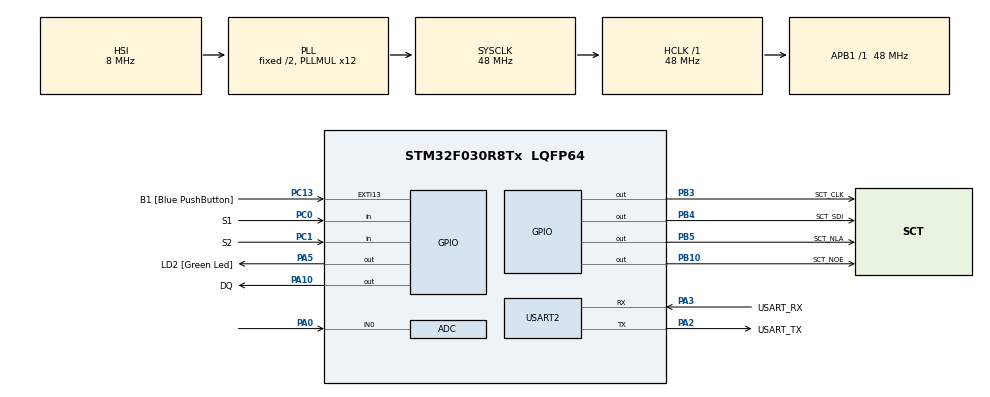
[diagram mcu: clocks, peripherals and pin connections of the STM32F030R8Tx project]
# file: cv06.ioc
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ADC.ContinuousConvMode=ENABLE
ADC.SamplingTime=ADC_SAMPLETIME_239CYCLES_5
Mcu.Family=STM32F0
Mcu.Name=STM32F030R8Tx
Mcu.Package=LQFP64
NVIC.ADC1_IRQn=true\:0\:0\:false\:false\:true\:true\:true
PA0.Mode=IN0
PA0.Signal=ADC_IN0
PA10.GPIO_Label=DQ
PA10.GPIO_ModeDefaultOutputPP=GPIO_MODE_OUTPUT_OD
PA10.PinState=GPIO_PIN_SET
PA10.Signal=GPIO_Output
PA13.GPIO_Label=TMS
PA13.Mode=Serial_Wire
PA13.Signal=SYS_SWDIO
PA14.GPIO_Label=TCK
PA14.Mode=Serial_Wire
PA14.Signal=SYS_SWCLK
PA2.GPIO_Label=USART_TX
PA2.GPIO_Mode=GPIO_MODE_AF_PP
PA2.GPIO_PuPd=GPIO_NOPULL
PA2.GPIO_Speed=GPIO_SPEED_FREQ_LOW
PA2.Mode=Asynchronous
PA2.Signal=USART2_TX
PA3.GPIO_Label=USART_RX
PA3.GPIO_Mode=GPIO_MODE_AF_PP
PA3.GPIO_PuPd=GPIO_NOPULL
PA3.GPIO_Speed=GPIO_SPEED_FREQ_LOW
PA3.Mode=Asynchronous
PA3.Signal=USART2_RX
PA5.GPIO_Label=LD2 [Green Led]
PA5.GPIO_Mode=GPIO_MODE_OUTPUT_PP
PA5.GPIO_PuPd=GPIO_NOPULL
PA5.GPIO_Speed=GPIO_SPEED_FREQ_LOW
PA5.Signal=GPIO_Output
PB10.GPIO_Label=SCT_NOE
PB10.Signal=GPIO_Output
PB3.GPIO_Label=SCT_CLK
PB3.Signal=GPIO_Output
PB4.GPIO_Label=SCT_SDI
PB4.Signal=GPIO_Output
PB5.GPIO_Label=SCT_NLA
PB5.Signal=GPIO_Output
PC0.GPIO_Label=S1
PC0.GPIO_PuPd=GPIO_PULLUP
PC0.Signal=GPIO_Input
PC1.GPIO_Label=S2
PC1.GPIO_PuPd=GPIO_PULLUP
PC1.Signal=GPIO_Input
PC13.GPIO_Label=B1 [Blue PushButton]
PC13.GPIO_ModeDefaultEXTI=GPIO_MODE_IT_FALLING
PC13.Signal=GPXTI13
PC14-OSC32_IN.Mode=LSE-External-Oscillator
PC14-OSC32_IN.Signal=RCC_OSC32_IN
PC15-OSC32_OUT.Mode=LSE-External-Oscillator
PC15-OSC32_OUT.Signal=RCC_OSC32_OUT
PF0-OSC_IN.Mode=HSE-External-Clock-Source
PF0-OSC_IN.Signal=RCC_OSC_IN
PF1-OSC_OUT.Signal=RCC_OSC_OUT
ProjectManager.HeapSize=0x200
ProjectManager.StackSize=0x400
ProjectManager.TargetToolchain=STM32CubeIDE
RCC.AHBFreq_Value=48000000
RCC.APB1Freq_Value=48000000
RCC.APB1TimFreq_Value=48000000
RCC.HCLKFreq_Value=48000000
RCC.PLLMUL=RCC_PLL_MUL12
RCC.SYSCLKFreq_VALUE=48000000
RCC.SYSCLKSource=RCC_SYSCLKSOURCE_PLLCLK
USART2.VirtualMode-Asynchronous=VM_ASYNC
VP_ADC_TempSens_Input.Mode=IN-TempSens
VP_ADC_Vref_Input.Mode=IN-Vrefint
board=NUCLEO-F030R8

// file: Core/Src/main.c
/* USER CODE BEGIN Header */
/**
  ******************************************************************************
  * @file           : main.c
  * @brief          : Main program body
  ******************************************************************************
  * @attention
  *
  * <h2><center>&copy; Copyright (c) 2020 STMicroelectronics.
  * All rights reserved.</center></h2>
  *
  * This software component is licensed by ST under BSD 3-Clause license,
  * the "License"; You may not use this file except in compliance with the
  * License. You may obtain a copy of the License at:
  *                        opensource.org/licenses/BSD-3-Clause
  *
  ******************************************************************************
  */
/* USER CODE END Header */

#include "main.h"

/* USER CODE BEGIN Includes */
#include "sct.h"
#include "1wire.h"
/* USER CODE END Includes */

/* USER CODE BEGIN PD */
#define ADC_Q 12;
#define TEMP110_CAL_ADDR ((uint16_t*) ((uint32_t) 0x1FFFF7C2))
#define TEMP30_CAL_ADDR ((uint16_t*) ((uint32_t) 0x1FFFF7B8))
#define VREFINT_CAL_ADDR ((uint16_t*) ((uint32_t) 0x1FFFF7BA))

/* USER CODE END PD */

ADC_HandleTypeDef hadc;

UART_HandleTypeDef huart2;

/* USER CODE BEGIN PV */
//uint16_t adc_value;
static volatile uint32_t raw_pot;
static volatile uint32_t avg_pot;
static volatile uint32_t raw_volt;
static volatile uint32_t raw_temp;
/* USER CODE END PV */

void SystemClock_Config(void);
static void MX_GPIO_Init(void);
static void MX_USART2_UART_Init(void);
static void MX_ADC_Init(void);

/* USER CODE BEGIN 0 */

void HAL_ADC_ConvCpltCallback(ADC_HandleTypeDef* hadc)
{
	static uint32_t channel;

	if (channel == 0)
	{
		raw_pot = HAL_ADC_GetValue(hadc);

		static uint32_t avg_pot;
		raw_pot = avg_pot >> ADC_Q;
		avg_pot -= raw_pot;
		avg_pot += HAL_ADC_GetValue(hadc);
	}
	else if (channel == 1)
	{
		raw_temp = HAL_ADC_GetValue(hadc);
	}
	else if (channel == 2)
	{
		raw_volt = HAL_ADC_GetValue(hadc);
	}
	if (__HAL_ADC_GET_FLAG(hadc, ADC_FLAG_EOS)) channel = 0;
	else channel++;

}

/* USER CODE END 0 */

int main(void)
{

  /* MCU Configuration--------------------------------------------------------*/

  /* Reset of all peripherals, Initializes the Flash interface and the Systick. */
  HAL_Init();

  /* Configure the system clock */
  SystemClock_Config();

  /* Initialize all configured peripherals */
  MX_GPIO_Init();
  MX_USART2_UART_Init();
  MX_ADC_Init();
  /* USER CODE BEGIN 2 */
  OWInit();

  sct_init();
  HAL_ADCEx_Calibration_Start(&hadc);
  HAL_ADC_Start_IT(&hadc);

  /* USER CODE END 2 */

  /* Infinite loop */
  while (1)
  {

    /* USER CODE BEGIN 3 */

	  OWConvertAll();
	  HAL_Delay(750);

	  int16_t temp_18b20;
	  OWReadTemperature(&temp_18b20);

	  static uint32_t tick;
	  static enum { SHOW_POT, SHOW_VOLT, SHOW_TEMP } state = SHOW_POT;

	  if(HAL_GPIO_ReadPin(S2_GPIO_Port, S2_Pin) == 0)  { state = SHOW_VOLT; tick = HAL_GetTick();}
	  if(HAL_GPIO_ReadPin(S1_GPIO_Port, S1_Pin) == 0)  { state = SHOW_TEMP; tick = HAL_GetTick();}

	  if (state == SHOW_POT)
	  {
		  sct_value((raw_pot*500)/4096,(raw_pot*9)/4096);
		  HAL_Delay(50);
	  }
	  else if (state == SHOW_VOLT)
	  {
		  uint32_t voltage = 330 * (*VREFINT_CAL_ADDR) / raw_volt;
		  sct_value(voltage,0);
		  if (HAL_GetTick()>tick+1000) state = SHOW_POT;
	  }
	  else if (state == SHOW_TEMP)
	  {
		  int32_t temperature = (raw_temp - (int32_t)(*TEMP30_CAL_ADDR));
		  temperature = temperature * (int32_t)(110 - 30);
		  temperature = temperature / (int32_t)(*TEMP110_CAL_ADDR - *TEMP30_CAL_ADDR);
		  temperature = temperature + 30;

		  sct_value(temperature,0);

		  if (HAL_GetTick()>tick+1000) state = SHOW_POT;
	  }
    }
  /* USER CODE END 3 */
}

void SystemClock_Config(void)
{
  RCC_OscInitTypeDef RCC_OscInitStruct = {0};
  RCC_ClkInitTypeDef RCC_ClkInitStruct = {0};

  /** Initializes the CPU, AHB and APB busses clocks
  */
  RCC_OscInitStruct.OscillatorType = RCC_OSCILLATORTYPE_HSI|RCC_OSCILLATORTYPE_HSI14;
  RCC_OscInitStruct.HSIState = RCC_HSI_ON;
  RCC_OscInitStruct.HSI14State = RCC_HSI14_ON;
  RCC_OscInitStruct.HSICalibrationValue = RCC_HSICALIBRATION_DEFAULT;
  RCC_OscInitStruct.HSI14CalibrationValue = 16;
  RCC_OscInitStruct.PLL.PLLState = RCC_PLL_ON;
  RCC_OscInitStruct.PLL.PLLSource = RCC_PLLSOURCE_HSI;
  RCC_OscInitStruct.PLL.PLLMUL = RCC_PLL_MUL12;
  RCC_OscInitStruct.PLL.PREDIV = RCC_PREDIV_DIV1;
  if (HAL_RCC_OscConfig(&RCC_OscInitStruct) != HAL_OK)
  {
    Error_Handler();
  }
  /** Initializes the CPU, AHB and APB busses clocks
  */
  RCC_ClkInitStruct.ClockType = RCC_CLOCKTYPE_HCLK|RCC_CLOCKTYPE_SYSCLK
                              |RCC_CLOCKTYPE_PCLK1;
  RCC_ClkInitStruct.SYSCLKSource = RCC_SYSCLKSOURCE_PLLCLK;
  RCC_ClkInitStruct.AHBCLKDivider = RCC_SYSCLK_DIV1;
  RCC_ClkInitStruct.APB1CLKDivider = RCC_HCLK_DIV1;

  if (HAL_RCC_ClockConfig(&RCC_ClkInitStruct, FLASH_LATENCY_1) != HAL_OK)
  {
    Error_Handler();
  }
}

static void MX_ADC_Init(void)
{

  ADC_ChannelConfTypeDef sConfig = {0};

  /** Configure the global features of the ADC (Clock, Resolution, Data Alignment and number of conversion)
  */
  hadc.Instance = ADC1;
  hadc.Init.ClockPrescaler = ADC_CLOCK_ASYNC_DIV1;
  hadc.Init.Resolution = ADC_RESOLUTION_12B;
  hadc.Init.DataAlign = ADC_DATAALIGN_RIGHT;
  hadc.Init.ScanConvMode = ADC_SCAN_DIRECTION_FORWARD;
  hadc.Init.EOCSelection = ADC_EOC_SINGLE_CONV;
  hadc.Init.LowPowerAutoWait = DISABLE;
  hadc.Init.LowPowerAutoPowerOff = DISABLE;
  hadc.Init.ContinuousConvMode = ENABLE;
  hadc.Init.DiscontinuousConvMode = DISABLE;
  hadc.Init.ExternalTrigConv = ADC_SOFTWARE_START;
  hadc.Init.ExternalTrigConvEdge = ADC_EXTERNALTRIGCONVEDGE_NONE;
  hadc.Init.DMAContinuousRequests = DISABLE;
  hadc.Init.Overrun = ADC_OVR_DATA_PRESERVED;
  if (HAL_ADC_Init(&hadc) != HAL_OK)
  {
    Error_Handler();
  }
  /** Configure for the selected ADC regular channel to be converted.
  */
  sConfig.Channel = ADC_CHANNEL_0;
  sConfig.Rank = ADC_RANK_CHANNEL_NUMBER;
  sConfig.SamplingTime = ADC_SAMPLETIME_239CYCLES_5;
  if (HAL_ADC_ConfigChannel(&hadc, &sConfig) != HAL_OK)
  {
    Error_Handler();
  }
  /** Configure for the selected ADC regular channel to be converted.
  */
  sConfig.Channel = ADC_CHANNEL_TEMPSENSOR;
  if (HAL_ADC_ConfigChannel(&hadc, &sConfig) != HAL_OK)
  {
    Error_Handler();
  }
  /** Configure for the selected ADC regular channel to be converted.
  */
  sConfig.Channel = ADC_CHANNEL_VREFINT;
  if (HAL_ADC_ConfigChannel(&hadc, &sConfig) != HAL_OK)
  {
    Error_Handler();
  }

}

static void MX_USART2_UART_Init(void)
{

  huart2.Instance = USART2;
  huart2.Init.BaudRate = 38400;
  huart2.Init.WordLength = UART_WORDLENGTH_8B;
  huart2.Init.StopBits = UART_STOPBITS_1;
  huart2.Init.Parity = UART_PARITY_NONE;
  huart2.Init.Mode = UART_MODE_TX_RX;
  huart2.Init.HwFlowCtl = UART_HWCONTROL_NONE;
  huart2.Init.OverSampling = UART_OVERSAMPLING_16;
  huart2.Init.OneBitSampling = UART_ONE_BIT_SAMPLE_DISABLE;
  huart2.AdvancedInit.AdvFeatureInit = UART_ADVFEATURE_NO_INIT;
  if (HAL_UART_Init(&huart2) != HAL_OK)
  {
    Error_Handler();
  }

}

static void MX_GPIO_Init(void)
{
  GPIO_InitTypeDef GPIO_InitStruct = {0};

  /* GPIO Ports Clock Enable */
  __HAL_RCC_GPIOC_CLK_ENABLE();
  __HAL_RCC_GPIOF_CLK_ENABLE();
  __HAL_RCC_GPIOA_CLK_ENABLE();
  __HAL_RCC_GPIOB_CLK_ENABLE();

  /*Configure GPIO pin Output Level */
  HAL_GPIO_WritePin(LD2_GPIO_Port, LD2_Pin, GPIO_PIN_RESET);

  /*Configure GPIO pin Output Level */
  HAL_GPIO_WritePin(GPIOB, SCT_NOE_Pin|SCT_CLK_Pin|SCT_SDI_Pin|SCT_NLA_Pin, GPIO_PIN_RESET);

  /*Configure GPIO pin Output Level */
  HAL_GPIO_WritePin(DQ_GPIO_Port, DQ_Pin, GPIO_PIN_SET);

  /*Configure GPIO pin : B1_Pin */
  GPIO_InitStruct.Pin = B1_Pin;
  GPIO_InitStruct.Mode = GPIO_MODE_IT_FALLING;
  GPIO_InitStruct.Pull = GPIO_NOPULL;
  HAL_GPIO_Init(B1_GPIO_Port, &GPIO_InitStruct);

  /*Configure GPIO pins : S1_Pin S2_Pin */
  GPIO_InitStruct.Pin = S1_Pin|S2_Pin;
  GPIO_InitStruct.Mode = GPIO_MODE_INPUT;
  GPIO_InitStruct.Pull = GPIO_PULLUP;
  HAL_GPIO_Init(GPIOC, &GPIO_InitStruct);

  /*Configure GPIO pin : LD2_Pin */
  GPIO_InitStruct.Pin = LD2_Pin;
  GPIO_InitStruct.Mode = GPIO_MODE_OUTPUT_PP;
  GPIO_InitStruct.Pull = GPIO_NOPULL;
  GPIO_InitStruct.Speed = GPIO_SPEED_FREQ_LOW;
  HAL_GPIO_Init(LD2_GPIO_Port, &GPIO_InitStruct);

  /*Configure GPIO pins : SCT_NOE_Pin SCT_CLK_Pin SCT_SDI_Pin SCT_NLA_Pin */
  GPIO_InitStruct.Pin = SCT_NOE_Pin|SCT_CLK_Pin|SCT_SDI_Pin|SCT_NLA_Pin;
  GPIO_InitStruct.Mode = GPIO_MODE_OUTPUT_PP;
  GPIO_InitStruct.Pull = GPIO_NOPULL;
  GPIO_InitStruct.Speed = GPIO_SPEED_FREQ_LOW;
  HAL_GPIO_Init(GPIOB, &GPIO_InitStruct);

  /*Configure GPIO pin : DQ_Pin */
  GPIO_InitStruct.Pin = DQ_Pin;
  GPIO_InitStruct.Mode = GPIO_MODE_OUTPUT_OD;
  GPIO_InitStruct.Pull = GPIO_NOPULL;
  GPIO_InitStruct.Speed = GPIO_SPEED_FREQ_LOW;
  HAL_GPIO_Init(DQ_GPIO_Port, &GPIO_InitStruct);

}

void Error_Handler(void)
{
}

/************************ (C) COPYRIGHT STMicroelectronics *****END OF FILE****/
